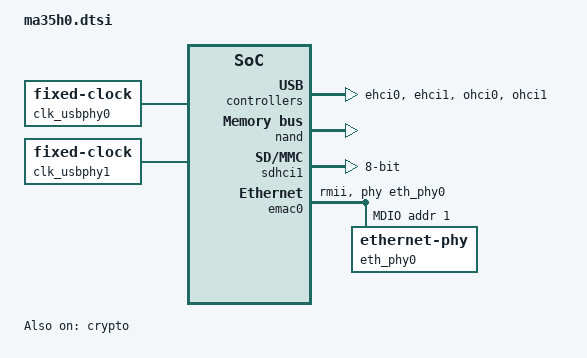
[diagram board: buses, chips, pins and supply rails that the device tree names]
/*
 * Device Tree Source for MA35H0
 *
 * Copyright (C) 2020 Nuvoton Technology Corp.
 *
 * The code contained herein is licensed under the GNU General Public
 * License. You may obtain a copy of the GNU General Public License
 * Version 2 or later at the following locations:
 *
 * http://www.opensource.org/licenses/gpl-license.html
 * http://www.gnu.org/copyleft/gpl.html
 */
/dts-v1/;

#include <dt-bindings/interrupt-controller/arm-gic.h>

#include <dt-bindings/input/input.h>

#include <dt-bindings/clock/ma35h0-clk.h>
#include <dt-bindings/pinctrl/ma35h0-pinfunc.h>
#include <dt-bindings/reset/nuvoton,ma35h0-reset.h>

//#define ENABLE_PSCI
/{
	compatible = "nuvoton,ma35h0";
	interrupt-parent = <&gic>;
	#address-cells = <2>;
	#size-cells = <2>;

	cpus {
		#address-cells = <2>;
		#size-cells = <0>;

		/* We have 1 clusters having 2 Cortex-A35 cores */
		cpu0: cpu@0 {
			device_type = "cpu";
			compatible = "arm,cortex-a35";
			reg = <0x0 0x0>;
#ifdef ENABLE_PSCI
			enable-method = "psci";
#else
			enable-method = "spin-table";
			cpu-release-addr = <0x0 0x8000fff8>;
#endif
			next-level-cache = <&L2_0>;
		};
#if 0
		cpu1: cpu@1 {
			device_type = "cpu";
			compatible = "arm,cortex-a35";
			reg = <0x0 0x1>;
#ifdef ENABLE_PSCI
			enable-method = "psci";
#else
			enable-method = "spin-table";
			cpu-release-addr = <0x0 0x8000fff8>;
#endif
			next-level-cache = <&L2_0>;
		};
#endif
		L2_0: l2-cache0 {
			compatible = "cache";
			cache-level = <2>;
		};
	};

#if 0
	pmu {
		interrupt-affinity = <&cpu0>, <&cpu1>;
	};
#endif

#ifdef ENABLE_PSCI
	psci {
		compatible = "arm,psci";
		cpu_on = <0xC4000003>;
		method = "smc";
	};
#endif

	clk_hxt:hxt {
		compatible = "fixed-clock";
		#clock-cells = <0>;
		clock-frequency = <24000000>;
		clock-output-names = "hxt_gate";
	};

	clk_lxt:lxt {
		compatible = "fixed-clock";
		#clock-cells = <0>;
		clock-frequency = <32768>;
		clock-output-names = "lxt_gate";
	};

	clk_hirc:hirc {
		compatible = "fixed-clock";
		#clock-cells = <0>;
		clock-frequency = <12000000>;
		clock-output-names = "hirc_gate";
	};

	clk_lirc:lirc {
		compatible = "fixed-clock";
		#clock-cells = <0>;
		clock-frequency = <32000>;
		clock-output-names = "lirc_gate";
	};

	clk_usbphy0:usbphy0 {
		compatible = "fixed-clock";
		#clock-cells = <0>;
		clock-frequency = <480000000>;
		clock-output-names = "usbphy0";
	};
	clk_usbphy1:usbphy1 {
		compatible = "fixed-clock";
		#clock-cells = <0>;
		clock-frequency = <480000000>;
		clock-output-names = "usbphy1";
	};

	timer {
		compatible = "arm,armv8-timer";
		interrupts = <GIC_PPI 13 (GIC_CPU_MASK_SIMPLE(4) | IRQ_TYPE_LEVEL_LOW)>, /* Physical Secure */
				<GIC_PPI 14 (GIC_CPU_MASK_SIMPLE(4) | IRQ_TYPE_LEVEL_LOW)>, /* Physical Non-Secure */
				<GIC_PPI 11 (GIC_CPU_MASK_SIMPLE(4) | IRQ_TYPE_LEVEL_LOW)>, /* Virtual */
				<GIC_PPI 10 (GIC_CPU_MASK_SIMPLE(4) | IRQ_TYPE_LEVEL_LOW)>; /* Hypervisor */
		clock-frequency = <12000000>;
		interrupt-parent = <&gic>;
	};

	gic: interrupt-controller@50800000 {
		compatible = "arm,gic-400";
		#interrupt-cells = <3>;
		interrupt-parent = <&gic>;
		interrupt-controller;
		reg =   <0x0 0x50801000 0 0x1000>, /* GICD */
			<0x0 0x50802000 0 0x2000>, /* GICC */
			<0x0 0x50804000 0 0x2000>, /* GICH */
			<0x0 0x50806000 0 0x2000>; /* GICV */
		interrupts = <GIC_PPI 9 (GIC_CPU_MASK_RAW(0x13) | IRQ_TYPE_LEVEL_HIGH)>;
	};

	clk: clock-controller@40460200 {
		compatible = "nuvoton,ma35h0-clk", "syscon", "simple-mfd";
		reg = <0x00000000 0x40460200 0x0 0x100>;
		#clock-cells = <1>;
		clocks = <&clk_hxt> ,<&clk_lxt>, <&clk_hirc>, <&clk_lirc>, <&clk_usbphy0>, <&clk_usbphy1>;
		clock-names = "hxt_gate", "lxt_gate", "hirc_gate", "lirc_gate", "usbphy0", "usbphy1";
		nuvoton,sys = <&sys>;
	};

	sys: system-management@40460000 {
		compatible = "nuvoton,ma35h0-sys", "syscon", "simple-mfd";
		reg = <0x0  0x40460000  0x0  0x200>;
	};

	reset: reset-controller {
		compatible = "nuvoton,ma35h0-reset";
		nuvoton,ma35h0-sys = <&sys>;
		#reset-cells = <1>;
	};

	pinctrl: pinctrl {
		compatible = "nuvoton,ma35h0-pinctrl";
		nuvoton,sys = <&sys>;
		#address-cells = <2>;
		#size-cells = <2>;
		ranges;
		status = "okay";

		gpioa: gpioa@40040000 {
			reg = <0x0 0x40040000 0 0x40>,
			      <0x0 0x40040800 0 0x40>;
			interrupts = <GIC_SPI  14 IRQ_TYPE_LEVEL_HIGH>;
			clocks = <&clk gpa_gate>;
			gpio-controller;
			#gpio-cells = <2>;
			interrupt-controller;
			#interrupt-cells = <2>;
		};

		gpiob: gpiob@40040040 {
			reg = <0x0 0x40040040 0 0x40>,
			      <0x0 0x40040840 0 0x40>;
			interrupts = <GIC_SPI  15 IRQ_TYPE_LEVEL_HIGH>;
			clocks = <&clk gpb_gate>;
			gpio-controller;
			#gpio-cells = <2>;
			interrupt-controller;
			#interrupt-cells = <2>;
		};

		gpioc: gpioc@40040080 {
			reg = <0x0 0x40040080 0 0x40>,
			      <0x0 0x40040880 0 0x40>;
			interrupts = <GIC_SPI  16 IRQ_TYPE_LEVEL_HIGH>;
			clocks = <&clk gpc_gate>;
			gpio-controller;
			#gpio-cells = <2>;
			interrupt-controller;
			#interrupt-cells = <2>;
		};

		gpiod: gpiod@400400c0 {
			reg = <0x0 0x400400C0 0 0x40>,
			      <0x0 0x400408C0 0 0x40>;
			interrupts = <GIC_SPI  17 IRQ_TYPE_LEVEL_HIGH>;
			clocks = <&clk gpd_gate>;
			gpio-controller;
			#gpio-cells = <2>;
			interrupt-controller;
			#interrupt-cells = <2>;
		};

		gpioe: gpioe@40040100 {
			reg = <0x0 0x40040100 0 0x40>,
			      <0x0 0x40040900 0 0x40>;
			interrupts = <GIC_SPI  73 IRQ_TYPE_LEVEL_HIGH>;
			clocks = <&clk gpe_gate>;
			#gpio-cells = <2>;
			gpio-controller;
			interrupt-controller;
			#interrupt-cells = <2>;
		};

		gpiof: gpiof@40040140 {
			reg = <0x0 0x40040140 0 0x40>,
			      <0x0 0x40040940 0 0x40>;
			interrupts = <GIC_SPI  74 IRQ_TYPE_LEVEL_HIGH>;
			clocks = <&clk gpf_gate>;
			gpio-controller;
			#gpio-cells = <2>;
			interrupt-controller;
			#interrupt-cells = <2>;
		};

		gpiog: gpiog@40040180 {
			reg = <0x0 0x40040180 0 0x40>,
			      <0x0 0x40040980 0 0x40>;
			interrupts = <GIC_SPI  75 IRQ_TYPE_LEVEL_HIGH>;
			clocks = <&clk gpg_gate>;
			#gpio-cells = <2>;
			gpio-ranges = <&pinctrl 0 96 16>;
			gpio-controller;
			interrupt-controller;
			#interrupt-cells = <2>;
		};

		gpioh: gpioh@400401C0 {
			reg = <0x0 0x400401C0 0 0x40>,
			      <0x0 0x400409C0 0 0x40>;
			interrupts = <GIC_SPI  76 IRQ_TYPE_LEVEL_HIGH>;
			clocks = <&clk gph_gate>;
			gpio-controller;
			#gpio-cells = <2>;
			interrupt-controller;
			#interrupt-cells = <2>;
		};

		gpioi: gpioi@40040200 {
			reg = <0x0 0x40040200 0 0x40>,
			      <0x0 0x40040A00 0 0x40>;
			interrupts = <GIC_SPI  77 IRQ_TYPE_LEVEL_HIGH>;
			clocks = <&clk gpi_gate>;
			gpio-controller;
			#gpio-cells = <2>;
			interrupt-controller;
			#interrupt-cells = <2>;
		};

		gpioj: gpioj@40040240 {
			reg = <0x0 0x40040240 0 0x40>,
			      <0x0 0x40040A40 0 0x40>;
			interrupts = <GIC_SPI  78 IRQ_TYPE_LEVEL_HIGH>;
			clocks = <&clk gpj_gate>;
			gpio-controller;
			#gpio-cells = <2>;
			interrupt-controller;
			#interrupt-cells = <2>;
		};

		gpiok: gpiok@40040280 {
			reg = <0x0 0x40040280 0 0x40>,
			      <0x0 0x40040A80 0 0x40>;
			interrupts = <GIC_SPI  102 IRQ_TYPE_LEVEL_HIGH>;
			clocks = <&clk gpk_gate>;
			gpio-controller;
			#gpio-cells = <2>;
			interrupt-controller;
			#interrupt-cells = <2>;
		};

		gpiol: gpiol@400402C0 {
			reg = <0x0 0x400402C0 0 0x40>,
			      <0x0 0x40040AC0 0 0x40>;
			interrupts = <GIC_SPI  103 IRQ_TYPE_LEVEL_HIGH>;
			clocks = <&clk gpl_gate>;
			gpio-controller;
			#gpio-cells = <2>;
			interrupt-controller;
			#interrupt-cells = <2>;
		};

		gpiom: gpiom@40040300 {
			reg = <0x0 0x40040300 0 0x40>,
			      <0x0 0x40040B00 0 0x40>;
			interrupts = <GIC_SPI  104 IRQ_TYPE_LEVEL_HIGH>;
			clocks = <&clk gpm_gate>;
			gpio-controller;
			#gpio-cells = <2>;
			interrupt-controller;
			#interrupt-cells = <2>;
		};

		gpion: gpion@40040340 {
			reg = <0x0 0x40040340 0 0x40>,
			      <0x0 0x40040B40 0 0x40>;
			interrupts = <GIC_SPI  105 IRQ_TYPE_LEVEL_HIGH>;
			clocks = <&clk gpn_gate>;
			gpio-controller;
			#gpio-cells = <2>;
			interrupt-controller;
			#interrupt-cells = <2>;
		};

		pcfg_default: pcfg-default {
			slew-rate = <1>; /* 0:normal, 1:high */
			input-schmitt-disable;  /* input-schmitt-disable, input-schmitt-enable */
			bias-disable; /* bias-disable, bias-pull-up, bias-pull-down  */
			power-source = <3300>; /* 1800:1.8v , 3300:3.3v */
			drive-strength = <3>; /* 0 ~ 7 */
		};

		pcfg_sdhci_3_3V: pcfg-sdhci_3_3V {
			slew-rate = <0>; /* 0:normal, 1:high */
			input-schmitt-disable;  /* input-schmitt-disable, input-schmitt-enable */
			bias-disable; /* bias-disable, bias-pull-up, bias-pull-down  */
			power-source = <3300>; /* 1800:1.8v , 3300:3.3v */
			drive-strength = <2>; /* 0 ~ 7 */
		};

		pcfg_emac_1_8V: pcfg-pcfg_emac_1_8V {
			slew-rate = <0>; /* 0:normal, 1:high */
			input-schmitt-enable;  /* input-schmitt-disable, input-schmitt-enable */
			bias-disable; /* bias-disable, bias-pull-up, bias-pull-down  */
			power-source = <1800>; /* 1800:1.8v , 3300:3.3v */
			drive-strength = <1>; /* 0 ~ 7 */
		};

		pcfg_emac_3_3V: pcfg-pcfg_emac_3_3V {
			slew-rate = <0>; /* 0:normal, 1:high */
			input-schmitt-enable;  /* input-schmitt-disable, input-schmitt-enable */
			bias-disable; /* bias-disable, bias-pull-up, bias-pull-down  */
			power-source = <3300>; /* 1800:1.8v , 3300:3.3v */
			drive-strength = <1>; /* 0 ~ 7 */
		};

		pcfg_qspi_1_8V: pcfg-pcfg_qspi_1_8V {
			slew-rate = <0>; /* 0:normal, 1:high */
			input-schmitt-enable;  /* input-schmitt-disable, input-schmitt-enable */
			bias-disable; /* bias-disable, bias-pull-up, bias-pull-down  */
			power-source = <1800>; /* 1800:1.8v , 3300:3.3v */
			drive-strength = <3>; /* 0 ~ 7 */
		};

		pcfg_qspi_3_3V: pcfg-pcfg_qspi_3_3V {
			slew-rate = <0>; /* 0:normal, 1:high */
			input-schmitt-enable;  /* input-schmitt-disable, input-schmitt-enable */
			bias-disable; /* bias-disable, bias-pull-up, bias-pull-down  */
			power-source = <3300>; /* 1800:1.8v , 3300:3.3v */
			drive-strength = <3>; /* 0 ~ 7 */
		};

		nand {
			pinctrl_nand: nandgrp{
				nuvoton,pins =
					<SYS_GPA_MFPL_PA0MFP_NAND_DATA0 &pcfg_default>,
					<SYS_GPA_MFPL_PA1MFP_NAND_DATA1 &pcfg_default>,
					<SYS_GPA_MFPL_PA2MFP_NAND_DATA2 &pcfg_default>,
					<SYS_GPA_MFPL_PA3MFP_NAND_DATA3 &pcfg_default>,
					<SYS_GPA_MFPL_PA4MFP_NAND_DATA4 &pcfg_default>,
					<SYS_GPA_MFPL_PA5MFP_NAND_DATA5 &pcfg_default>,
					<SYS_GPA_MFPL_PA6MFP_NAND_DATA6 &pcfg_default>,
					<SYS_GPA_MFPL_PA7MFP_NAND_DATA7 &pcfg_default>,
					<SYS_GPA_MFPH_PA8MFP_NAND_RDY   &pcfg_default>,
					<SYS_GPA_MFPH_PA9MFP_NAND_nRE   &pcfg_default>,
					<SYS_GPA_MFPH_PA10MFP_NAND_nWE  &pcfg_default>,
					<SYS_GPA_MFPH_PA11MFP_NAND_CLE  &pcfg_default>,
					<SYS_GPA_MFPH_PA12MFP_NAND_ALE  &pcfg_default>,
					<SYS_GPA_MFPH_PA13MFP_NAND_nCS  &pcfg_default>,
					<SYS_GPA_MFPH_PA14MFP_NAND_nWP  &pcfg_default>;
			};
		};

		sdhci0 {
			pinctrl_sdhci0: sdhci0grp{
				nuvoton,pins =
					<SYS_GPC_MFPL_PC0MFP_eMMC0_CMD   &pcfg_sdhci_3_3V>,
					<SYS_GPC_MFPL_PC1MFP_eMMC0_CLK   &pcfg_sdhci_3_3V>,
					<SYS_GPC_MFPL_PC2MFP_eMMC0_DAT0  &pcfg_sdhci_3_3V>,
					<SYS_GPC_MFPL_PC3MFP_eMMC0_DAT1  &pcfg_sdhci_3_3V>,
					<SYS_GPC_MFPL_PC4MFP_eMMC0_DAT2  &pcfg_sdhci_3_3V>,
					<SYS_GPC_MFPL_PC5MFP_eMMC0_DAT3  &pcfg_sdhci_3_3V>,
					<SYS_GPC_MFPL_PC6MFP_SD0_nCD     &pcfg_sdhci_3_3V>,
					<SYS_GPC_MFPL_PC7MFP_SD0_WP      &pcfg_sdhci_3_3V>,
					<SYS_GPC_MFPH_PC8MFP_eMMC0_DAT4  &pcfg_sdhci_3_3V>,
					<SYS_GPC_MFPH_PC9MFP_eMMC0_DAT5  &pcfg_sdhci_3_3V>,
					<SYS_GPC_MFPH_PC10MFP_eMMC0_DAT6 &pcfg_sdhci_3_3V>,
					<SYS_GPC_MFPH_PC11MFP_eMMC0_DAT7 &pcfg_sdhci_3_3V>;
			};
		};

		sdhci1 {
			pinctrl_sdhci1: sdhci1grp{
				nuvoton,pins =
					<SYS_GPJ_MFPL_PJ0MFP_eMMC1_DAT4  &pcfg_sdhci_3_3V>,
					<SYS_GPJ_MFPL_PJ1MFP_eMMC1_DAT5  &pcfg_sdhci_3_3V>,
					<SYS_GPJ_MFPL_PJ2MFP_eMMC1_DAT6  &pcfg_sdhci_3_3V>,
					<SYS_GPJ_MFPL_PJ3MFP_eMMC1_DAT7  &pcfg_sdhci_3_3V>,
					<SYS_GPJ_MFPL_PJ4MFP_SD1_WP      &pcfg_sdhci_3_3V>,
					<SYS_GPJ_MFPL_PJ5MFP_SD1_nCD     &pcfg_sdhci_3_3V>,
					<SYS_GPJ_MFPL_PJ6MFP_eMMC1_CMD   &pcfg_sdhci_3_3V>,
					<SYS_GPJ_MFPL_PJ7MFP_eMMC1_CLK   &pcfg_sdhci_3_3V>,
					<SYS_GPJ_MFPH_PJ8MFP_eMMC1_DAT0  &pcfg_sdhci_3_3V>,
					<SYS_GPJ_MFPH_PJ9MFP_eMMC1_DAT1  &pcfg_sdhci_3_3V>,
					<SYS_GPJ_MFPH_PJ10MFP_eMMC1_DAT2 &pcfg_sdhci_3_3V>,
					<SYS_GPJ_MFPH_PJ11MFP_eMMC1_DAT3 &pcfg_sdhci_3_3V>;
			};
		};

		emac0 {
			pinctrl_emac0: emac0grp{
				nuvoton,pins =
				<SYS_GPE_MFPL_PE0MFP_RMII0_MDC		&pcfg_emac_3_3V>,
				<SYS_GPE_MFPL_PE1MFP_RMII0_MDIO		&pcfg_emac_3_3V>,
				<SYS_GPE_MFPL_PE2MFP_RMII0_TXEN		&pcfg_emac_3_3V>,
				<SYS_GPE_MFPL_PE3MFP_RMII0_TXD0		&pcfg_emac_3_3V>,
				<SYS_GPE_MFPL_PE4MFP_RMII0_TXD1		&pcfg_emac_3_3V>,
				<SYS_GPE_MFPL_PE5MFP_RMII0_REFCLK	&pcfg_emac_3_3V>,
				<SYS_GPE_MFPL_PE6MFP_RMII0_CRSDV	&pcfg_emac_3_3V>,
				<SYS_GPE_MFPL_PE7MFP_RMII0_RXD0		&pcfg_emac_3_3V>,
				<SYS_GPE_MFPH_PE8MFP_RMII0_RXD1		&pcfg_emac_3_3V>,
				<SYS_GPE_MFPH_PE9MFP_RMII0_RXERR	&pcfg_emac_3_3V>;
			};
		};

		uart0 {
			pinctrl_uart0: uart0grp{
				nuvoton,pins =
				<SYS_GPE_MFPH_PE14MFP_UART0_TXD    &pcfg_default>,
				<SYS_GPE_MFPH_PE15MFP_UART0_RXD    &pcfg_default>;
			};
		};

		i2c1 {
			pinctrl_i2c1: i2c1grp{
				nuvoton,pins =
				<SYS_GPN_MFPL_PN4MFP_I2C1_SDA    &pcfg_default>,
				<SYS_GPN_MFPL_PN5MFP_I2C1_SCL    &pcfg_default>;
			};
		};

		ehci0 {
			pinctrl_ehci0: ehci0grp{
				nuvoton,pins =
				<SYS_GPL_MFPH_PL12MFP_HSUSBH_PWREN  &pcfg_default>,
				<SYS_GPL_MFPH_PL13MFP_HSUSBH_OVC    &pcfg_default>;
			};
		};

		qspi0 {
			pinctrl_qspi0: qspi0grp{
				nuvoton,pins =
				<SYS_GPD_MFPL_PD0MFP_QSPI0_SS0		&pcfg_qspi_1_8V>,
				<SYS_GPD_MFPL_PD1MFP_QSPI0_CLK		&pcfg_qspi_1_8V>,
				<SYS_GPD_MFPL_PD2MFP_QSPI0_MOSI0	&pcfg_qspi_1_8V>,
				<SYS_GPD_MFPL_PD3MFP_QSPI0_MISO0	&pcfg_qspi_1_8V>,
				<SYS_GPD_MFPL_PD4MFP_QSPI0_MOSI1	&pcfg_qspi_1_8V>,
				<SYS_GPD_MFPL_PD5MFP_QSPI0_MISO1	&pcfg_qspi_1_8V>;
			};
		};

		display {
			pinctrl_display0: display0grp{
				nuvoton,pins =
				<SYS_GPG_MFPH_PG8MFP_LCM_VSYNC		&pcfg_default>,
				<SYS_GPG_MFPH_PG9MFP_LCM_HSYNC		&pcfg_default>,
				<SYS_GPG_MFPH_PG10MFP_LCM_CLK		&pcfg_default>,
				<SYS_GPK_MFPL_PK4MFP_LCM_DEN		&pcfg_default>,
				<SYS_GPI_MFPH_PI8MFP_LCM_DATA0		&pcfg_default>,
				<SYS_GPI_MFPH_PI9MFP_LCM_DATA1		&pcfg_default>,
				<SYS_GPI_MFPH_PI10MFP_LCM_DATA2		&pcfg_default>,
				<SYS_GPI_MFPH_PI11MFP_LCM_DATA3		&pcfg_default>,
				<SYS_GPI_MFPH_PI12MFP_LCM_DATA4		&pcfg_default>,
				<SYS_GPI_MFPH_PI13MFP_LCM_DATA5		&pcfg_default>,
				<SYS_GPI_MFPH_PI14MFP_LCM_DATA6		&pcfg_default>,
				<SYS_GPI_MFPH_PI15MFP_LCM_DATA7		&pcfg_default>,
				<SYS_GPH_MFPL_PH0MFP_LCM_DATA8		&pcfg_default>,
				<SYS_GPH_MFPL_PH1MFP_LCM_DATA9		&pcfg_default>,
				<SYS_GPH_MFPL_PH2MFP_LCM_DATA10		&pcfg_default>,
				<SYS_GPH_MFPL_PH3MFP_LCM_DATA11		&pcfg_default>,
				<SYS_GPH_MFPL_PH4MFP_LCM_DATA12		&pcfg_default>,
				<SYS_GPH_MFPL_PH5MFP_LCM_DATA13		&pcfg_default>,
				<SYS_GPH_MFPL_PH6MFP_LCM_DATA14		&pcfg_default>,
				<SYS_GPH_MFPL_PH7MFP_LCM_DATA15		&pcfg_default>,
				<SYS_GPC_MFPH_PC12MFP_LCM_DATA16	&pcfg_default>,
				<SYS_GPC_MFPH_PC13MFP_LCM_DATA17	&pcfg_default>,
				<SYS_GPC_MFPH_PC14MFP_LCM_DATA18	&pcfg_default>,
				<SYS_GPC_MFPH_PC15MFP_LCM_DATA19	&pcfg_default>,
				<SYS_GPH_MFPH_PH12MFP_LCM_DATA20	&pcfg_default>,
				<SYS_GPH_MFPH_PH13MFP_LCM_DATA21	&pcfg_default>,
				<SYS_GPH_MFPH_PH14MFP_LCM_DATA22	&pcfg_default>,
				<SYS_GPH_MFPH_PH15MFP_LCM_DATA23	&pcfg_default>;
			};
		};
	};

	uart0: serial@40700000 {
		u-boot,dm-pre-reloc;
		pinctrl-names = "default";
		pinctrl-0 = <&pinctrl_uart0>;
		compatible = "nuvoton,ma35h0-uart";
		reg = <0x0 0x40700000 0x0 0x10000>;
		id = <0>;
		status = "disabled";
	};

	crypto: crypto@40300000 {
		compatible = "nuvoton,ma35h0-crypto";
		reg = <0x0 0x40300000 0x0 0x1000>;
		nuvoton,sys = <&sys>;
		status = "okay";
	};

	ehci0: ehci@40140000 {
		compatible = "nuvoton,ma35h0-ehci0";
		reg = <0x0 0x40140000 0x0 0x1000>;
		clocks = <&clk husbh0_gate>;
		nuvoton,sys = <&sys>;
		pinctrl-names = "default";
		pinctrl-0 = <&pinctrl_ehci0>;
		interrupts = <GIC_SPI 33 IRQ_TYPE_LEVEL_HIGH>;
		status = "okay";
	};

	ehci1:ehci@401C0000 {
		compatible = "nuvoton,ma35h0-ehci1";
		reg = <0x0 0x401C0000 0x0 0x1000>;
		clocks = <&clk husbh1_gate>;
		nuvoton,sys = <&sys>;
		interrupts = <GIC_SPI 34 IRQ_TYPE_LEVEL_HIGH>;
		status = "okay";
	};

	ohci0:ohci@40150000 {
		compatible = "nuvoton,ma35h0-ohci0";
		reg = <0x0 0x40150000 0x0 0x1000>;
		clocks = <&clk husbh0_gate>;
		nuvoton,sys = <&sys>;
		interrupts = <GIC_SPI 35 IRQ_TYPE_LEVEL_HIGH>;
		status = "okay";
	};

	ohci1:ohci@401D0000 {
		compatible = "nuvoton,ma35h0-ohci1";
		reg = <0x0 0x401D0000 0x0 0x1000>;
		clocks = <&clk husbh1_gate>;
		nuvoton,sys = <&sys>;
		interrupts = <GIC_SPI 36 IRQ_TYPE_LEVEL_HIGH>;
		status = "okay";
	};

	ohci2:ohci@40170000 {
		compatible = "nuvoton,ma35h0-ohci2";
		reg = <0x0 0x40170000 0x0 0x1000>;
		clocks = <&clk usbh_gate>;
		nuvoton,sys = <&sys>;
		interrupts = <GIC_SPI 37 IRQ_TYPE_LEVEL_HIGH>;
		status = "disabled";
	};

	rtc: rtc@40410000 {
		compatible = "nuvoton,ma35h0-rtc";
		clocks = <&clk rtc_gate>;
		reg = <0x0 0x40410000 0x0 0x10000>;
		//interrupts = <GIC_SPI 5 IRQ_TYPE_LEVEL_HIGH>;
		status = "disabled";
	};

	i2c1: i2c@40810000 {
		u-boot,dm-pre-reloc;
		compatible = "nuvoton,ma35h0-i2c";
		reg = <0x0 0x40810000 0x0 0x10000>;
		pinctrl-names = "default";
		pinctrl-0 = <&pinctrl_i2c1>;
		//interrupts = <GIC_SPI 14 IRQ_TYPE_LEVEL_HIGH>;
		clocks = <&clk i2c1_gate>;
		clock-frequency = <100000>;
		status = "disabled";
	};

	qspi0: qspi@40680000 {
		compatible = "nuvoton,ma35h0-qspi";
		reg = <0x0 0x40680000 0x0 0x10000>;
		reg-names = "qspi_base";
		pinctrl-names = "default";
		pinctrl-0 = <&pinctrl_qspi0>;
		nuvoton,clk = <&clk>;
		clocks = <&clk qspi0_gate>;
		clock-names = "qspi0";
		resets = <&reset MA35H0_RESET_QSPI0>;
		reset-names = "qspi0_rst";


		u-boot,dm-pre-reloc;
		status = "disabled";

		#address-cells = <1>;
		#size-cells = <0>;
		#if 0
		flash0: mx66l51235l@0 {
			#address-cells = <1>;
			#size-cells = <1>;
			compatible = "jedec,spi-nor";
			spi-max-frequency = <30000000>;
			m25p,fast-read;
			spi-tx-bus-width = <1>;
			spi-rx-bus-width = <4>;
			reg = <0>;
		};
		#endif
	};

	nand: nand@401A0000 {
		pinctrl-names = "default";
		pinctrl-0 = <&pinctrl_nand>;
		u-boot,dm-pre-reloc;
		compatible = "nuvoton,ma35h0-nand";
		reg = <0x0 0x401A0000 0x0 0x1000>;
		reg-names = "nand";
		interrupts = <GIC_SPI 38 IRQ_TYPE_LEVEL_HIGH>;	/* 70-32 */
		nuvoton,sys = <&sys>;
		clocks = <&clk nand_gate>;
		status = "okay";
		nand-ecc-mode = "hw_oob_first";
		nand-bus-width = <8>;
		nand-ecc-strength = <8>;
		nand-ecc-step-size = <512>;
		nand-on-flash-bbt;
	};

	sdhci0: sdhci@40180000 {
		pinctrl-names = "default";
		pinctrl-0 = <&pinctrl_sdhci0>;
		u-boot,dm-pre-reloc;
		compatible = "snps,dwcmshc-sdhci";
		reg = <0x0 0x40180000 0x0 0x2000>;
		interrupts = <GIC_SPI 30 IRQ_TYPE_LEVEL_HIGH>;
		clocks = <&clk sdh0_gate>;
		clock-names = "core";
		bus-width = <4>;
		max-frequency = <180000000>;
		no-1-8-v;
		status = "disabled";
	};

	sdhci1: sdhci@40190000 {
		pinctrl-names = "default";
		pinctrl-0 = <&pinctrl_sdhci1>;
		u-boot,dm-pre-reloc;
		compatible = "snps,dwcmshc-sdhci";
		reg = <0x0 0x40190000 0x0 0x2000>;
		interrupts = <GIC_SPI 31 IRQ_TYPE_LEVEL_HIGH>;
		clocks = <&clk sdh1_gate>;
		clock-names = "core";
		bus-width = <8>;
		max-frequency = <180000000>;
		no-1-8-v;
		status = "okay";
	};

	emac0: ethernet@40120000 {
		compatible = "nuvoton,ma35h0-emac";
		reg = <0x0 0x40120000 0x0 0x10000>;
		mac-address = [ 00 11 22 33 44 55 ];
		phy-mode = "rmii";
		phy-handle = <&eth_phy0>;
		nuvoton,ma35h0-sys = <&sys>;
		pinctrl-names = "default";
		pinctrl-0 = <&pinctrl_emac0>;
		clocks = <&clk emac0_gate>;
		clock-names = "stmmaceth";
		mac-id = <0>;
		status = "okay";
		mdio {
			compatible = "snps,dwmac-mdio";
			#address-cells = <1>;
			#size-cells = <0>;

			eth_phy0: ethernet-phy@1 {
				reg = <1>;
			};
		};
	};

	wdt1: wdt@40440000 {
		compatible = "nuvoton,ma35h0-wdt";
		reg = <0x0 0x40440000 0x0 0x100>;
		nuvoton,ma35h0-sys = <&sys>;
		nuvoton,clk = <&clk>;
		clocks = <&clk wdt1_gate>;
		clock-names = "wdt";
		status = "disabled";
	};

	display: display@40260000 {
		pinctrl-names = "default";
		pinctrl-0 = <&pinctrl_display0>;
		u-boot,dm-pre-reloc;
		compatible = "nuvoton,ma35h0-fb";
		reg = <0x0 0x40260000 0x0 0x2000>;
		interrupts = <GIC_SPI 20 IRQ_TYPE_LEVEL_HIGH>;
		nuvoton,sys = <&sys>;
		nuvoton,clk = <&clk>;
		clocks = <&clk dcu_gate>;
		resets = <&reset MA35H0_RESET_DISP>;
		status = "disabled";
	};

};
